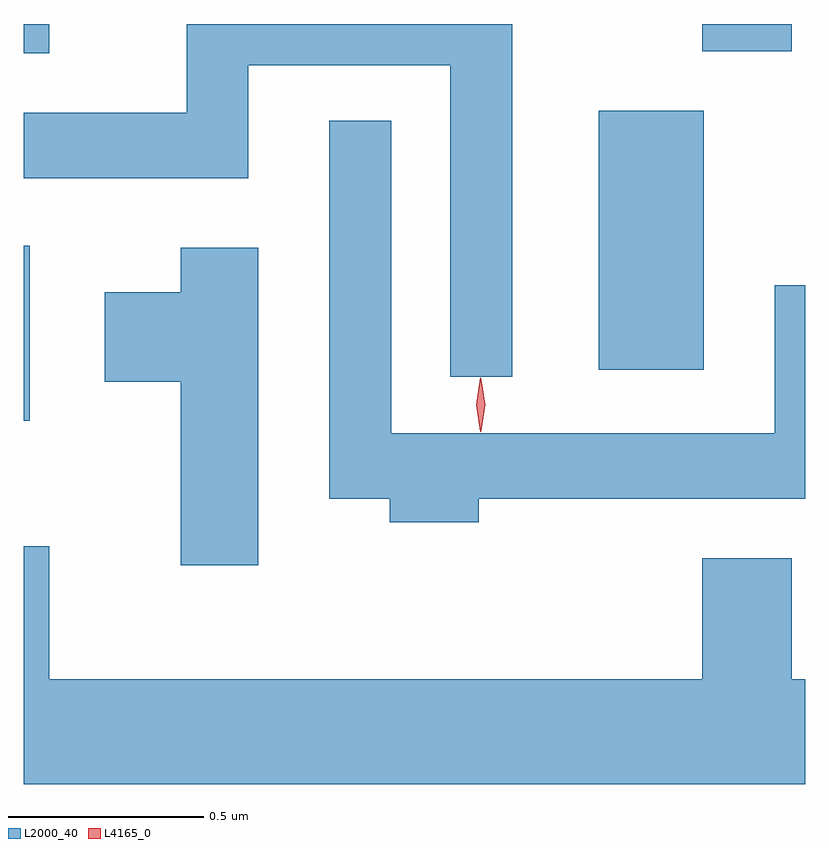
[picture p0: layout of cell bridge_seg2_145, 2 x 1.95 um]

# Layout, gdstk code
import gdstk
lib = gdstk.Library(unit=1e-6, precision=1e-09)
def R(c, l, rs):  # rectangles x0, y0, x1, y1
    for r in rs: c.add(gdstk.rectangle(r[:2], r[2:], *l))
def P(c, l, *ps):  # polygons
    for p in ps: c.add(gdstk.Polygon(p, *l))
L2000_40 = (2000, 40)
L4165_0 = (4165, 0)

bridge_seg2_145 = lib.new_cell('bridge_seg2_145')
R(bridge_seg2_145, L2000_40, [(1024.824,1104.746,1024.839,1105.194), (1026.296,1104.876,1026.564,1105.539), (1024.824,1105.686,1024.889,1105.761), (1026.561,1105.691,1026.789,1105.761)])
P(bridge_seg2_145, L2000_40, [(1026.074,1105.761),(1025.241,1105.761),(1025.241,1105.534),(1024.824,1105.534),(1024.824,1105.366),(1025.399,1105.366),(1025.399,1105.656),(1025.916,1105.656),(1025.916,1104.858),(1026.074,1104.858)],
  [(1025.989,1104.546),(1026.824,1104.546),(1026.824,1105.093),(1026.746,1105.093),(1026.746,1104.714),(1025.764,1104.714),(1025.764,1105.513),(1025.606,1105.513),(1025.606,1104.546),(1025.761,1104.546),(1025.761,1104.486),(1025.989,1104.486)],
  [(1025.424,1105.189),(1025.226,1105.189),(1025.226,1105.074),(1025.031,1105.074),(1025.031,1104.846),(1025.226,1104.846),(1025.226,1104.376),(1025.424,1104.376)],
  [(1026.824,1104.084),(1026.789,1104.084),(1026.789,1104.394),(1026.561,1104.394),(1026.561,1104.084),(1024.889,1104.084),(1024.889,1104.424),(1024.824,1104.424),(1024.824,1103.816),(1026.824,1103.816)])
P(bridge_seg2_145, L4165_0, [(1025.992,1104.717),(1025.992,1104.717),(1025.982,1104.787),(1025.992,1104.856),(1025.992,1104.856),(1025.993,1104.856),(1026.002,1104.787),(1025.993,1104.717)],
  [(1025.995,1104.719),(1025.994,1104.72),(1025.985,1104.786),(1025.994,1104.852),(1025.995,1104.853),(1025.995,1104.852),(1026.005,1104.786),(1025.995,1104.72)])

lib.write_gds('bridge_seg2_145.gds')
